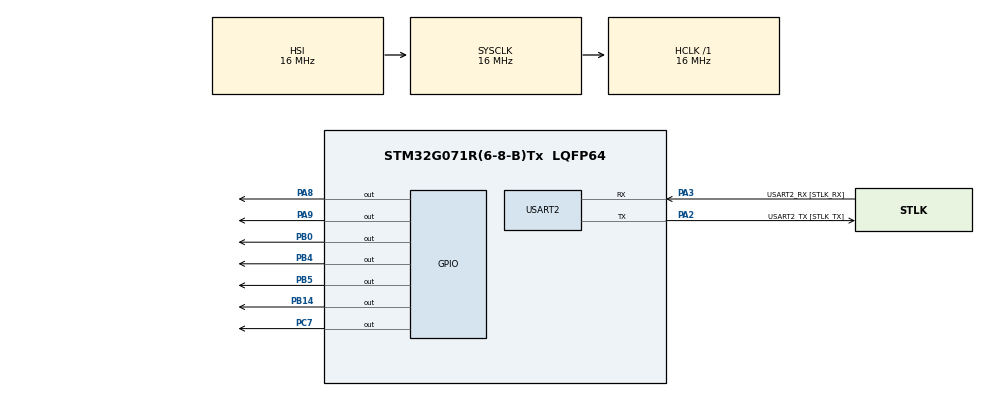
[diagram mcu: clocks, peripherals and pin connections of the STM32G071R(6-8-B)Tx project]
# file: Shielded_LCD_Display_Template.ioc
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Mcu.Family=STM32G0
Mcu.Name=STM32G071R(6-8-B)Tx
Mcu.Package=LQFP64
PA13.GPIO_Label=TMS
PA13.Mode=Serial_Wire
PA13.Signal=SYS_SWDIO
PA14-BOOT0.GPIO_Label=TCK
PA14-BOOT0.Mode=Serial_Wire
PA14-BOOT0.Signal=SYS_SWCLK
PA2.GPIO_Label=USART2_TX [STLK_TX]
PA2.GPIO_PuPd=GPIO_PULLUP
PA2.Mode=Asynchronous
PA2.Signal=USART2_TX
PA3.GPIO_Label=USART2_RX [STLK_RX]
PA3.GPIO_PuPd=GPIO_PULLUP
PA3.Mode=Asynchronous
PA3.Signal=USART2_RX
PA8.Signal=GPIO_Output
PA9.Signal=GPIO_Output
PB0.Signal=GPIO_Output
PB14.Signal=GPIO_Output
PB4.Signal=GPIO_Output
PB5.Signal=GPIO_Output
PC13.Mode=SYS_WakeUp1
PC13.Signal=SYS_WKUP2
PC14-OSC32_IN\ (PC14).Mode=LSE-External-Oscillator
PC14-OSC32_IN\ (PC14).Signal=RCC_OSC32_IN
PC15-OSC32_OUT\ (PC15).Mode=LSE-External-Oscillator
PC15-OSC32_OUT\ (PC15).Signal=RCC_OSC32_OUT
PC7.Signal=GPIO_Output
PF0-OSC_IN\ (PF0).GPIO_Label=MCO
PF0-OSC_IN\ (PF0).Signal=RCC_OSC_IN
ProjectManager.HeapSize=0x200
ProjectManager.StackSize=0x400
ProjectManager.TargetToolchain=STM32CubeIDE
RCC.AHBFreq_Value=16000000
RCC.CortexFreq_Value=16000000
RCC.EXTERNAL_CLOCK_VALUE=12288000
RCC.HCLKFreq_Value=16000000
RCC.HSE_VALUE=8000000
RCC.HSI_VALUE=16000000
RCC.SYSCLKFreq_VALUE=16000000
RCC.VCOOutputFreq_Value=128000000
RTC.Format=RTC_FORMAT_BIN
USART2.VirtualMode-Asynchronous=VM_ASYNC
VP_RTC_VS_RTC_Activate.Mode=RTC_Enabled
VP_RTC_VS_RTC_Calendar.Mode=RTC_Calendar
board=NUCLEO-G071RB

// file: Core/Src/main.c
/* USER CODE BEGIN Header */
/**
  ******************************************************************************
  * @file           : main.c
  * @brief          : Main program body
  ******************************************************************************
  * @attention
  *
  * Copyright (c) 2025 STMicroelectronics.
  * All rights reserved.
  *
  * This software is licensed under terms that can be found in the LICENSE file
  * in the root directory of this software component.
  * If no LICENSE file comes with this software, it is provided AS-IS.
  *
  ******************************************************************************
  */
/* USER CODE END Header */
#include "main.h"

/* USER CODE BEGIN Includes */
#include "stdio.h"
/* USER CODE END Includes */

/* USER CODE BEGIN PD */
#define EN_0  GPIOC->BRR = (1 << 7)
#define EN_1  GPIOC->BSRR = (1 << 7)
#define RS_0  GPIOA->BRR = (1 << 9)
#define RS_1  GPIOA->BSRR = (1 << 9)
#define D7_0  GPIOA->BRR = (1 << 8)
#define D7_1  GPIOA->BSRR = (1 << 8)
#define D6_0  GPIOB->BRR = (1 << 14)
#define D6_1  GPIOB->BSRR = (1 << 14)
#define D5_0  GPIOB->BRR = (1 << 4)
#define D5_1  GPIOB->BSRR = (1 << 4)
#define D4_0  GPIOB->BRR = (1 << 5)
#define D4_1  GPIOB->BSRR = (1 << 5)
#define BL_0  GPIOB->BRR = 1
#define BL_1  GPIOB->BSRR = 1

#define LCD_Cursor_Off 0x0C
#define LCD_Cursor_Blink 0x0E
#define LCD_Cursor_Always 0x0F

/* USER CODE END PD */

RTC_HandleTypeDef hrtc;

UART_HandleTypeDef huart2;

void SystemClock_Config(void);
static void MX_GPIO_Init(void);
static void MX_USART2_UART_Init(void);
static void MX_RTC_Init(void);
/* USER CODE BEGIN PFP */
void us_delay(int time);
void LCD_sendData(uint8_t data);
void LCD_wrcom4(uint8_t com4);
void LCD_wrcom(uint8_t com);
void LCD_wrchar(uint8_t ch);
void LCD_clear();
void LCD_goto(uint8_t x, uint8_t y);
void LCD_Init(uint8_t cursor);
/* USER CODE END PFP */

/* USER CODE BEGIN 0 */
void us_delay(int time){
	for(int i = 0; i < time; i++){
		// 7 in the second loop is used in order to reach 1us Delay
		for(int j = 0; j < 7; j++){

		}
	}
}

void LCD_sendData(uint8_t data){
	if(data & 0x08) D7_1; else D7_0;
	if(data & 0x04) D6_1; else D6_0;
	if(data & 0x02) D5_1; else D5_0;
	if(data & 0x01) D4_1; else D4_0;
}

void LCD_wrcom4(uint8_t com4){
	LCD_sendData(com4);
	RS_0;
	EN_1;
	us_delay(5);
	EN_0;
	HAL_Delay(20);
}

void LCD_wrcom(uint8_t com){
	LCD_sendData(com >> 4);
	RS_0;
	EN_1;
	us_delay(5);
	EN_0;
	LCD_sendData(com);
	us_delay(5);
	EN_1;
	us_delay(5);
	EN_0;
	HAL_Delay(20);
}

void LCD_wrchar(uint8_t ch){
	LCD_sendData(ch >> 4);
	RS_1;
	EN_1;
	us_delay(5);
	EN_0;
	LCD_sendData(ch);
	us_delay(5);
	EN_1;
	us_delay(5);
	EN_0;
	HAL_Delay(20);
}

void LCD_backlight(uint8_t light){
	if(light == 0) BL_0;
	else BL_1;
}

void LCD_clear(){
	LCD_wrcom(0x06);
}

void LCD_goto(uint8_t x, uint8_t y){
	uint8_t com = 0x80;
	//16x2 Display
	if(y == 0) com = 0x80;
	if(y == 1) com = 0xC0;
	if(x >= 0 && x < 16) com += x;
	LCD_wrcom(com);
}

void LCD_Init(uint8_t cursor){
	LCD_wrcom4(0x03);
	LCD_wrcom4(0x03);
	LCD_wrcom4(0x03);
	LCD_wrcom4(0x02);
	LCD_wrcom(0x28);
	LCD_wrcom(cursor);
	LCD_wrcom(0x06);
	LCD_wrcom(0x01);
	LCD_backlight(1);
}

//Extra for printf on Display
int __io_putchar(int ch){
	if(ch != '\n'){
		LCD_wrchar((uint8_t)ch);
	}

	return ch;
}

/* USER CODE END 0 */

int main(void)
{

  /* MCU Configuration--------------------------------------------------------*/

  /* Reset of all peripherals, Initializes the Flash interface and the Systick. */
  HAL_Init();

  /* Configure the system clock */
  SystemClock_Config();

  /* Initialize all configured peripherals */
  MX_GPIO_Init();
  MX_USART2_UART_Init();
  MX_RTC_Init();
  /* USER CODE BEGIN 2 */
  LCD_Init(0x0F);
  printf("Hello World\n");

  /* USER CODE END 2 */

  /* Infinite loop */
  while (1)
  {

  }
}

void SystemClock_Config(void)
{
  RCC_OscInitTypeDef RCC_OscInitStruct = {0};
  RCC_ClkInitTypeDef RCC_ClkInitStruct = {0};

  /** Configure the main internal regulator output voltage
  */
  HAL_PWREx_ControlVoltageScaling(PWR_REGULATOR_VOLTAGE_SCALE1);

  /** Initializes the RCC Oscillators according to the specified parameters
  * in the RCC_OscInitTypeDef structure.
  */
  RCC_OscInitStruct.OscillatorType = RCC_OSCILLATORTYPE_HSI|RCC_OSCILLATORTYPE_LSI;
  RCC_OscInitStruct.HSIState = RCC_HSI_ON;
  RCC_OscInitStruct.HSIDiv = RCC_HSI_DIV1;
  RCC_OscInitStruct.HSICalibrationValue = RCC_HSICALIBRATION_DEFAULT;
  RCC_OscInitStruct.LSIState = RCC_LSI_ON;
  RCC_OscInitStruct.PLL.PLLState = RCC_PLL_NONE;
  if (HAL_RCC_OscConfig(&RCC_OscInitStruct) != HAL_OK)
  {
    Error_Handler();
  }

  /** Initializes the CPU, AHB and APB buses clocks
  */
  RCC_ClkInitStruct.ClockType = RCC_CLOCKTYPE_HCLK|RCC_CLOCKTYPE_SYSCLK
                              |RCC_CLOCKTYPE_PCLK1;
  RCC_ClkInitStruct.SYSCLKSource = RCC_SYSCLKSOURCE_HSI;
  RCC_ClkInitStruct.AHBCLKDivider = RCC_SYSCLK_DIV1;
  RCC_ClkInitStruct.APB1CLKDivider = RCC_HCLK_DIV1;

  if (HAL_RCC_ClockConfig(&RCC_ClkInitStruct, FLASH_LATENCY_0) != HAL_OK)
  {
    Error_Handler();
  }
}

static void MX_RTC_Init(void)
{

  RTC_TimeTypeDef sTime = {0};
  RTC_DateTypeDef sDate = {0};

  /** Initialize RTC Only
  */
  hrtc.Instance = RTC;
  hrtc.Init.HourFormat = RTC_HOURFORMAT_24;
  hrtc.Init.AsynchPrediv = 127;
  hrtc.Init.SynchPrediv = 255;
  hrtc.Init.OutPut = RTC_OUTPUT_DISABLE;
  hrtc.Init.OutPutRemap = RTC_OUTPUT_REMAP_NONE;
  hrtc.Init.OutPutPolarity = RTC_OUTPUT_POLARITY_HIGH;
  hrtc.Init.OutPutType = RTC_OUTPUT_TYPE_OPENDRAIN;
  hrtc.Init.OutPutPullUp = RTC_OUTPUT_PULLUP_NONE;
  if (HAL_RTC_Init(&hrtc) != HAL_OK)
  {
    Error_Handler();
  }

  /** Initialize RTC and set the Time and Date
  */
  sTime.Hours = 0;
  sTime.Minutes = 0;
  sTime.Seconds = 0;
  sTime.SubSeconds = 0;
  sTime.DayLightSaving = RTC_DAYLIGHTSAVING_NONE;
  sTime.StoreOperation = RTC_STOREOPERATION_RESET;
  if (HAL_RTC_SetTime(&hrtc, &sTime, RTC_FORMAT_BIN) != HAL_OK)
  {
    Error_Handler();
  }
  sDate.WeekDay = RTC_WEEKDAY_MONDAY;
  sDate.Month = RTC_MONTH_JANUARY;
  sDate.Date = 1;
  sDate.Year = 0;

  if (HAL_RTC_SetDate(&hrtc, &sDate, RTC_FORMAT_BIN) != HAL_OK)
  {
    Error_Handler();
  }

}

static void MX_USART2_UART_Init(void)
{

  huart2.Instance = USART2;
  huart2.Init.BaudRate = 115200;
  huart2.Init.WordLength = UART_WORDLENGTH_8B;
  huart2.Init.StopBits = UART_STOPBITS_1;
  huart2.Init.Parity = UART_PARITY_NONE;
  huart2.Init.Mode = UART_MODE_TX_RX;
  huart2.Init.HwFlowCtl = UART_HWCONTROL_NONE;
  huart2.Init.OverSampling = UART_OVERSAMPLING_16;
  huart2.Init.OneBitSampling = UART_ONE_BIT_SAMPLE_DISABLE;
  huart2.Init.ClockPrescaler = UART_PRESCALER_DIV1;
  huart2.AdvancedInit.AdvFeatureInit = UART_ADVFEATURE_NO_INIT;
  if (HAL_UART_Init(&huart2) != HAL_OK)
  {
    Error_Handler();
  }
  if (HAL_UARTEx_SetTxFifoThreshold(&huart2, UART_TXFIFO_THRESHOLD_1_8) != HAL_OK)
  {
    Error_Handler();
  }
  if (HAL_UARTEx_SetRxFifoThreshold(&huart2, UART_RXFIFO_THRESHOLD_1_8) != HAL_OK)
  {
    Error_Handler();
  }
  if (HAL_UARTEx_DisableFifoMode(&huart2) != HAL_OK)
  {
    Error_Handler();
  }

}

static void MX_GPIO_Init(void)
{
  GPIO_InitTypeDef GPIO_InitStruct = {0};

  /* GPIO Ports Clock Enable */
  __HAL_RCC_GPIOC_CLK_ENABLE();
  __HAL_RCC_GPIOF_CLK_ENABLE();
  __HAL_RCC_GPIOA_CLK_ENABLE();
  __HAL_RCC_GPIOB_CLK_ENABLE();

  /*Configure GPIO pin Output Level */
  HAL_GPIO_WritePin(GPIOB, GPIO_PIN_0|GPIO_PIN_14|GPIO_PIN_4|GPIO_PIN_5, GPIO_PIN_RESET);

  /*Configure GPIO pin Output Level */
  HAL_GPIO_WritePin(GPIOA, GPIO_PIN_8|GPIO_PIN_9, GPIO_PIN_RESET);

  /*Configure GPIO pin Output Level */
  HAL_GPIO_WritePin(GPIOC, GPIO_PIN_7, GPIO_PIN_RESET);

  /*Configure GPIO pins : PB0 PB14 PB4 PB5 */
  GPIO_InitStruct.Pin = GPIO_PIN_0|GPIO_PIN_14|GPIO_PIN_4|GPIO_PIN_5;
  GPIO_InitStruct.Mode = GPIO_MODE_OUTPUT_PP;
  GPIO_InitStruct.Pull = GPIO_NOPULL;
  GPIO_InitStruct.Speed = GPIO_SPEED_FREQ_LOW;
  HAL_GPIO_Init(GPIOB, &GPIO_InitStruct);

  /*Configure GPIO pins : PA8 PA9 */
  GPIO_InitStruct.Pin = GPIO_PIN_8|GPIO_PIN_9;
  GPIO_InitStruct.Mode = GPIO_MODE_OUTPUT_PP;
  GPIO_InitStruct.Pull = GPIO_NOPULL;
  GPIO_InitStruct.Speed = GPIO_SPEED_FREQ_LOW;
  HAL_GPIO_Init(GPIOA, &GPIO_InitStruct);

  /*Configure GPIO pin : PC7 */
  GPIO_InitStruct.Pin = GPIO_PIN_7;
  GPIO_InitStruct.Mode = GPIO_MODE_OUTPUT_PP;
  GPIO_InitStruct.Pull = GPIO_NOPULL;
  GPIO_InitStruct.Speed = GPIO_SPEED_FREQ_LOW;
  HAL_GPIO_Init(GPIOC, &GPIO_InitStruct);

}

void Error_Handler(void)
{
  __disable_irq();
  while (1)
  {
  }
}
